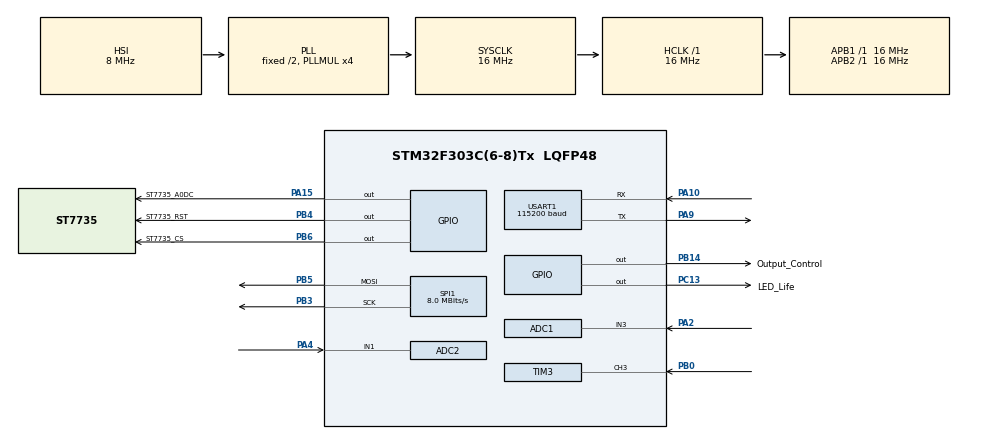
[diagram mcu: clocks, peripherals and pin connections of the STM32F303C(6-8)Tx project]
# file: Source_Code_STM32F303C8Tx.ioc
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ADC1.Channel-0\#ChannelRegularConversion=ADC_CHANNEL_3
ADC1.NbrOfConversionFlag=1
ADC1.Offset-0\#ChannelRegularConversion=0
ADC1.OffsetNumber-0\#ChannelRegularConversion=ADC_OFFSET_NONE
ADC1.Rank-0\#ChannelRegularConversion=1
ADC1.SamplingTime-0\#ChannelRegularConversion=ADC_SAMPLETIME_1CYCLE_5
ADC1.master=1
ADC2.Channel-1\#ChannelRegularConversion=ADC_CHANNEL_1
ADC2.NbrOfConversionFlag=1
ADC2.Offset-1\#ChannelRegularConversion=0
ADC2.OffsetNumber-1\#ChannelRegularConversion=ADC_OFFSET_NONE
ADC2.Rank-1\#ChannelRegularConversion=1
ADC2.SamplingTime-1\#ChannelRegularConversion=ADC_SAMPLETIME_1CYCLE_5
Mcu.Family=STM32F3
Mcu.Name=STM32F303C(6-8)Tx
Mcu.Package=LQFP48
NVIC.PriorityGroup=NVIC_PRIORITYGROUP_4
NVIC.USART1_IRQn=true\:1\:0\:true\:false\:true\:true\:true\:true
PA10.Mode=Asynchronous
PA10.Signal=USART1_RX
PA13.Mode=Serial_Wire
PA13.Signal=SYS_JTMS-SWDIO
PA14.Mode=Serial_Wire
PA14.Signal=SYS_JTCK-SWCLK
PA15.GPIO_Label=ST7735_A0\\DC
PA15.Signal=GPIO_Output
PA2.Mode=IN3-Single-Ended
PA2.Signal=ADC1_IN3
PA4.Mode=IN1-Single-Ended
PA4.Signal=ADC2_IN1
PA9.Mode=Asynchronous
PA9.Signal=USART1_TX
PB0.Signal=S_TIM3_CH3
PB14.GPIO_Label=Output_Control
PB14.Signal=GPIO_Output
PB3.Mode=TX_Only_Simplex_Unidirect_Master
PB3.Signal=SPI1_SCK
PB4.GPIO_Label=ST7735_RST
PB4.Signal=GPIO_Output
PB5.Mode=TX_Only_Simplex_Unidirect_Master
PB5.Signal=SPI1_MOSI
PB6.GPIO_Label=ST7735_CS
PB6.Signal=GPIO_Output
PC13.GPIO_Label=LED_Life
PC13.Signal=GPIO_Output
PC14\ /\ OSC32_IN.Mode=LSE-External-Oscillator
PC14\ /\ OSC32_IN.Signal=RCC_OSC32_IN
PC15\ /\ OSC32_OUT.Mode=LSE-External-Oscillator
PC15\ /\ OSC32_OUT.Signal=RCC_OSC32_OUT
PF0\ /\ OSC_IN.Mode=HSE-External-Oscillator
PF0\ /\ OSC_IN.Signal=RCC_OSC_IN
PF1\ /\ OSC_OUT.Mode=HSE-External-Oscillator
PF1\ /\ OSC_OUT.Signal=RCC_OSC_OUT
ProjectManager.HeapSize=0x200
ProjectManager.StackSize=0x400
ProjectManager.TargetToolchain=MDK-ARM V5.32
RCC.ADC12PRES=RCC_ADC12PLLCLK_DIV2
RCC.AHBFreq_Value=16000000
RCC.APB1Freq_Value=16000000
RCC.APB1TimFreq_Value=16000000
RCC.APB2Freq_Value=16000000
RCC.APB2TimFreq_Value=16000000
RCC.CortexFreq_Value=16000000
RCC.HCLKFreq_Value=16000000
RCC.HSE_VALUE=8000000
RCC.HSI_VALUE=8000000
RCC.PLLMUL=RCC_PLL_MUL4
RCC.SYSCLKFreq_VALUE=16000000
RCC.SYSCLKSourceVirtual=RCC_SYSCLKSOURCE_PLLCLK
SH.S_TIM3_CH3.0=TIM3_CH3,Input_Capture3_from_TI3
SPI1.CalculateBaudRate=8.0 MBits/s
SPI1.Direction=SPI_DIRECTION_2LINES
SPI1.Mode=SPI_MODE_MASTER
SPI1.VirtualType=VM_MASTER
TIM3.Channel-Input_Capture3_from_TI3=TIM_CHANNEL_3
USART1.BaudRate=115200
USART1.VirtualMode-Asynchronous=VM_ASYNC
board=custom

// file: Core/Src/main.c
/* USER CODE BEGIN Header */
/**
  ******************************************************************************
  * @file           : main.c
  * @brief          : Main program body
  ******************************************************************************
  * @attention
  *
  * Copyright (c) 2024 STMicroelectronics.
  * All rights reserved.
  *
  * This software is licensed under terms that can be found in the LICENSE file
  * in the root directory of this software component.
  * If no LICENSE file comes with this software, it is provided AS-IS.
  *
  ******************************************************************************
  */
/* USER CODE END Header */
#include "main.h"

/* USER CODE BEGIN Includes */
#include "stdio.h"
#include "st7735.h"
#include "fonts.h"
#include "scheduler.h"
/* USER CODE END Includes */

ADC_HandleTypeDef hadc1;
ADC_HandleTypeDef hadc2;

SPI_HandleTypeDef hspi1;

TIM_HandleTypeDef htim3;

UART_HandleTypeDef huart1;

void SystemClock_Config(void);
static void MX_GPIO_Init(void);
static void MX_ADC1_Init(void);
static void MX_ADC2_Init(void);
static void MX_SPI1_Init(void);
static void MX_TIM3_Init(void);
static void MX_USART1_UART_Init(void);

/* USER CODE BEGIN PFP */

//varible

volatile int Adc_vol=0;
volatile int Adc_amp=0;
volatile float Phase =0.8;
volatile float Vol_result=0;
volatile float Amp_result=0;
volatile float Watg_result=0;
volatile float Watg_per_Hour=0;
volatile int64_t Time_counter=0;
volatile uint32_t time_count = 0;
volatile float Energy=0;
//Fuction handler

static void Get_Data_And_Handle(void);
static void Send_Data_Esp32(void);
static void Display_St7735(void);

/* USER CODE END PFP */

/* USER CODE BEGIN 0 */

	/*Initialize ST7735*/

  /* Infinite loop */

/* USER CODE END 0 */

int main(void)
{

  /* MCU Configuration--------------------------------------------------------*/

  /* Reset of all peripherals, Initializes the Flash interface and the Systick. */
  HAL_Init();

  /* Configure the system clock */
  SystemClock_Config();

  /* Initialize all configured peripherals */
  MX_GPIO_Init();
  MX_ADC1_Init();
  MX_ADC2_Init();
  MX_SPI1_Init();
  MX_TIM3_Init();
  MX_USART1_UART_Init();
  /* USER CODE BEGIN 2 */

	ST7735_Init();
	ST7735_Backlight_On();
	ST7735_FillScreen(ST7735_BLACK);
	SCH_Init();

  /* USER CODE END 2 */
	SCH_Add_Task(Get_Data_And_Handle, 0, 10000);
  SCH_Add_Task(Send_Data_Esp32, 3000, 10000);
	SCH_Add_Task(Display_St7735, 6000, 10000);
  /* Infinite loop */
  while (1)
  {
		SCH_Dispatch_Tasks();
  }
}

void SystemClock_Config(void)
{
  RCC_OscInitTypeDef RCC_OscInitStruct = {0};
  RCC_ClkInitTypeDef RCC_ClkInitStruct = {0};
  RCC_PeriphCLKInitTypeDef PeriphClkInit = {0};

  /** Initializes the RCC Oscillators according to the specified parameters
  * in the RCC_OscInitTypeDef structure.
  */
  RCC_OscInitStruct.OscillatorType = RCC_OSCILLATORTYPE_HSI;
  RCC_OscInitStruct.HSIState = RCC_HSI_ON;
  RCC_OscInitStruct.HSICalibrationValue = RCC_HSICALIBRATION_DEFAULT;
  RCC_OscInitStruct.PLL.PLLState = RCC_PLL_ON;
  RCC_OscInitStruct.PLL.PLLSource = RCC_PLLSOURCE_HSI;
  RCC_OscInitStruct.PLL.PLLMUL = RCC_PLL_MUL4;
  if (HAL_RCC_OscConfig(&RCC_OscInitStruct) != HAL_OK)
  {
    Error_Handler();
  }

  /** Initializes the CPU, AHB and APB buses clocks
  */
  RCC_ClkInitStruct.ClockType = RCC_CLOCKTYPE_HCLK|RCC_CLOCKTYPE_SYSCLK
                              |RCC_CLOCKTYPE_PCLK1|RCC_CLOCKTYPE_PCLK2;
  RCC_ClkInitStruct.SYSCLKSource = RCC_SYSCLKSOURCE_PLLCLK;
  RCC_ClkInitStruct.AHBCLKDivider = RCC_SYSCLK_DIV1;
  RCC_ClkInitStruct.APB1CLKDivider = RCC_HCLK_DIV1;
  RCC_ClkInitStruct.APB2CLKDivider = RCC_HCLK_DIV1;

  if (HAL_RCC_ClockConfig(&RCC_ClkInitStruct, FLASH_LATENCY_0) != HAL_OK)
  {
    Error_Handler();
  }
  PeriphClkInit.PeriphClockSelection = RCC_PERIPHCLK_USART1|RCC_PERIPHCLK_ADC12;
  PeriphClkInit.Usart1ClockSelection = RCC_USART1CLKSOURCE_PCLK1;
  PeriphClkInit.Adc12ClockSelection = RCC_ADC12PLLCLK_DIV2;
  if (HAL_RCCEx_PeriphCLKConfig(&PeriphClkInit) != HAL_OK)
  {
    Error_Handler();
  }
}

static void MX_ADC1_Init(void)
{

  ADC_MultiModeTypeDef multimode = {0};
  ADC_ChannelConfTypeDef sConfig = {0};

  /** Common config
  */
  hadc1.Instance = ADC1;
  hadc1.Init.ClockPrescaler = ADC_CLOCK_ASYNC_DIV1;
  hadc1.Init.Resolution = ADC_RESOLUTION_12B;
  hadc1.Init.ScanConvMode = ADC_SCAN_DISABLE;
  hadc1.Init.ContinuousConvMode = DISABLE;
  hadc1.Init.DiscontinuousConvMode = DISABLE;
  hadc1.Init.ExternalTrigConvEdge = ADC_EXTERNALTRIGCONVEDGE_NONE;
  hadc1.Init.ExternalTrigConv = ADC_SOFTWARE_START;
  hadc1.Init.DataAlign = ADC_DATAALIGN_RIGHT;
  hadc1.Init.NbrOfConversion = 1;
  hadc1.Init.DMAContinuousRequests = DISABLE;
  hadc1.Init.EOCSelection = ADC_EOC_SINGLE_CONV;
  hadc1.Init.LowPowerAutoWait = DISABLE;
  hadc1.Init.Overrun = ADC_OVR_DATA_OVERWRITTEN;
  if (HAL_ADC_Init(&hadc1) != HAL_OK)
  {
    Error_Handler();
  }

  /** Configure the ADC multi-mode
  */
  multimode.Mode = ADC_MODE_INDEPENDENT;
  if (HAL_ADCEx_MultiModeConfigChannel(&hadc1, &multimode) != HAL_OK)
  {
    Error_Handler();
  }

  /** Configure Regular Channel
  */
  sConfig.Channel = ADC_CHANNEL_3;
  sConfig.Rank = ADC_REGULAR_RANK_1;
  sConfig.SingleDiff = ADC_SINGLE_ENDED;
  sConfig.SamplingTime = ADC_SAMPLETIME_1CYCLE_5;
  sConfig.OffsetNumber = ADC_OFFSET_NONE;
  sConfig.Offset = 0;
  if (HAL_ADC_ConfigChannel(&hadc1, &sConfig) != HAL_OK)
  {
    Error_Handler();
  }

}

static void MX_ADC2_Init(void)
{

  ADC_ChannelConfTypeDef sConfig = {0};

  /** Common config
  */
  hadc2.Instance = ADC2;
  hadc2.Init.ClockPrescaler = ADC_CLOCK_ASYNC_DIV1;
  hadc2.Init.Resolution = ADC_RESOLUTION_12B;
  hadc2.Init.ScanConvMode = ADC_SCAN_DISABLE;
  hadc2.Init.ContinuousConvMode = DISABLE;
  hadc2.Init.DiscontinuousConvMode = DISABLE;
  hadc2.Init.ExternalTrigConvEdge = ADC_EXTERNALTRIGCONVEDGE_NONE;
  hadc2.Init.ExternalTrigConv = ADC_SOFTWARE_START;
  hadc2.Init.DataAlign = ADC_DATAALIGN_RIGHT;
  hadc2.Init.NbrOfConversion = 1;
  hadc2.Init.DMAContinuousRequests = DISABLE;
  hadc2.Init.EOCSelection = ADC_EOC_SINGLE_CONV;
  hadc2.Init.LowPowerAutoWait = DISABLE;
  hadc2.Init.Overrun = ADC_OVR_DATA_OVERWRITTEN;
  if (HAL_ADC_Init(&hadc2) != HAL_OK)
  {
    Error_Handler();
  }

  /** Configure Regular Channel
  */
  sConfig.Channel = ADC_CHANNEL_1;
  sConfig.Rank = ADC_REGULAR_RANK_1;
  sConfig.SingleDiff = ADC_SINGLE_ENDED;
  sConfig.SamplingTime = ADC_SAMPLETIME_1CYCLE_5;
  sConfig.OffsetNumber = ADC_OFFSET_NONE;
  sConfig.Offset = 0;
  if (HAL_ADC_ConfigChannel(&hadc2, &sConfig) != HAL_OK)
  {
    Error_Handler();
  }

}

static void MX_SPI1_Init(void)
{

  /* SPI1 parameter configuration*/
  hspi1.Instance = SPI1;
  hspi1.Init.Mode = SPI_MODE_MASTER;
  hspi1.Init.Direction = SPI_DIRECTION_2LINES;
  hspi1.Init.DataSize = SPI_DATASIZE_4BIT;
  hspi1.Init.CLKPolarity = SPI_POLARITY_LOW;
  hspi1.Init.CLKPhase = SPI_PHASE_1EDGE;
  hspi1.Init.NSS = SPI_NSS_SOFT;
  hspi1.Init.BaudRatePrescaler = SPI_BAUDRATEPRESCALER_2;
  hspi1.Init.FirstBit = SPI_FIRSTBIT_MSB;
  hspi1.Init.TIMode = SPI_TIMODE_DISABLE;
  hspi1.Init.CRCCalculation = SPI_CRCCALCULATION_DISABLE;
  hspi1.Init.CRCPolynomial = 7;
  hspi1.Init.CRCLength = SPI_CRC_LENGTH_DATASIZE;
  hspi1.Init.NSSPMode = SPI_NSS_PULSE_ENABLE;
  if (HAL_SPI_Init(&hspi1) != HAL_OK)
  {
    Error_Handler();
  }

}

static void MX_TIM3_Init(void)
{

  TIM_MasterConfigTypeDef sMasterConfig = {0};
  TIM_IC_InitTypeDef sConfigIC = {0};

  htim3.Instance = TIM3;
  htim3.Init.Prescaler = 0;
  htim3.Init.CounterMode = TIM_COUNTERMODE_UP;
  htim3.Init.Period = 65535;
  htim3.Init.ClockDivision = TIM_CLOCKDIVISION_DIV1;
  htim3.Init.AutoReloadPreload = TIM_AUTORELOAD_PRELOAD_DISABLE;
  if (HAL_TIM_IC_Init(&htim3) != HAL_OK)
  {
    Error_Handler();
  }
  sMasterConfig.MasterOutputTrigger = TIM_TRGO_RESET;
  sMasterConfig.MasterSlaveMode = TIM_MASTERSLAVEMODE_DISABLE;
  if (HAL_TIMEx_MasterConfigSynchronization(&htim3, &sMasterConfig) != HAL_OK)
  {
    Error_Handler();
  }
  sConfigIC.ICPolarity = TIM_INPUTCHANNELPOLARITY_RISING;
  sConfigIC.ICSelection = TIM_ICSELECTION_DIRECTTI;
  sConfigIC.ICPrescaler = TIM_ICPSC_DIV1;
  sConfigIC.ICFilter = 0;
  if (HAL_TIM_IC_ConfigChannel(&htim3, &sConfigIC, TIM_CHANNEL_3) != HAL_OK)
  {
    Error_Handler();
  }

}

static void MX_USART1_UART_Init(void)
{

  huart1.Instance = USART1;
  huart1.Init.BaudRate = 115200;
  huart1.Init.WordLength = UART_WORDLENGTH_8B;
  huart1.Init.StopBits = UART_STOPBITS_1;
  huart1.Init.Parity = UART_PARITY_NONE;
  huart1.Init.Mode = UART_MODE_TX_RX;
  huart1.Init.HwFlowCtl = UART_HWCONTROL_NONE;
  huart1.Init.OverSampling = UART_OVERSAMPLING_16;
  huart1.Init.OneBitSampling = UART_ONE_BIT_SAMPLE_DISABLE;
  huart1.AdvancedInit.AdvFeatureInit = UART_ADVFEATURE_NO_INIT;
  if (HAL_UART_Init(&huart1) != HAL_OK)
  {
    Error_Handler();
  }

}

static void MX_GPIO_Init(void)
{
  GPIO_InitTypeDef GPIO_InitStruct = {0};

  /* GPIO Ports Clock Enable */
  __HAL_RCC_GPIOC_CLK_ENABLE();
  __HAL_RCC_GPIOF_CLK_ENABLE();
  __HAL_RCC_GPIOA_CLK_ENABLE();
  __HAL_RCC_GPIOB_CLK_ENABLE();

  /*Configure GPIO pin Output Level */
  HAL_GPIO_WritePin(LED_Life_GPIO_Port, LED_Life_Pin, GPIO_PIN_RESET);

  /*Configure GPIO pin Output Level */
  HAL_GPIO_WritePin(GPIOB, Output_Control_Pin|ST7735_RST_Pin|ST7735_CS_Pin, GPIO_PIN_RESET);

  /*Configure GPIO pin Output Level */
  HAL_GPIO_WritePin(ST7735_A0_DC_GPIO_Port, ST7735_A0_DC_Pin, GPIO_PIN_RESET);

  /*Configure GPIO pin : LED_Life_Pin */
  GPIO_InitStruct.Pin = LED_Life_Pin;
  GPIO_InitStruct.Mode = GPIO_MODE_OUTPUT_PP;
  GPIO_InitStruct.Pull = GPIO_NOPULL;
  GPIO_InitStruct.Speed = GPIO_SPEED_FREQ_LOW;
  HAL_GPIO_Init(LED_Life_GPIO_Port, &GPIO_InitStruct);

  /*Configure GPIO pins : Output_Control_Pin ST7735_RST_Pin ST7735_CS_Pin */
  GPIO_InitStruct.Pin = Output_Control_Pin|ST7735_RST_Pin|ST7735_CS_Pin;
  GPIO_InitStruct.Mode = GPIO_MODE_OUTPUT_PP;
  GPIO_InitStruct.Pull = GPIO_NOPULL;
  GPIO_InitStruct.Speed = GPIO_SPEED_FREQ_LOW;
  HAL_GPIO_Init(GPIOB, &GPIO_InitStruct);

  /*Configure GPIO pin : ST7735_A0_DC_Pin */
  GPIO_InitStruct.Pin = ST7735_A0_DC_Pin;
  GPIO_InitStruct.Mode = GPIO_MODE_OUTPUT_PP;
  GPIO_InitStruct.Pull = GPIO_NOPULL;
  GPIO_InitStruct.Speed = GPIO_SPEED_FREQ_LOW;
  HAL_GPIO_Init(ST7735_A0_DC_GPIO_Port, &GPIO_InitStruct);

}

/* USER CODE BEGIN 4 */

static void Get_Data_And_Handle(void)
{
		Time_counter= Time_counter+1;
		Adc_vol=0;
		Adc_amp=0;

		//Get Voltage value
    for(int i=0; i<10;i++)
		{
		HAL_ADC_Start(&hadc1);
		Adc_vol =Adc_vol+HAL_ADC_GetValue(&hadc1);
		HAL_ADC_Stop(&hadc1);
		}
		Adc_vol=Adc_vol/10;

		//Get Ampere value
		for(int i=0; i<10;i++){
		HAL_ADC_Start(&hadc2);
		Adc_amp =Adc_amp+HAL_ADC_GetValue(&hadc2);
		HAL_ADC_Stop(&hadc2);
		HAL_GPIO_TogglePin(GPIOC,GPIO_PIN_13);
		}
		Adc_amp=Adc_amp/10;

		//Get Phase value
		Phase = 0.8;

		//Data Hanlde
		Vol_result=(Adc_vol*3.3*129.9)/4095;
		Amp_result=(Adc_amp*3.3*1.37)/4095;
		Watg_result = Vol_result*Amp_result*Phase;

		Energy = Energy + Watg_result;

		Watg_per_Hour = Energy/(1000*3600);

}

static void Send_Data_Esp32(void)
{
    char mess[32];
    for(int i = 0; i < 2; i++) {
        switch (i) {
            case 0:
                //Send Vol_Value
                sprintf(mess, "%0.3f ; %0.3f ; %0.3f \r\n", Vol_result,Amp_result,Watg_result);
                break;
            default:
                break;
        }
        HAL_UART_Transmit(&huart1, (uint8_t *)mess, sizeof(mess), HAL_MAX_DELAY);

    }
}

static void Display_St7735(void)
{
	char mess[32];
	int second,minute,hour;

	hour = Time_counter/3600;
	minute = (Time_counter - 3600*hour)/60;
	second = Time_counter - 3600*hour - 60*minute;
	for(int i = 0; i < 8; i++)
	{

		switch(i) {
			case 0 :
			ST7735_DrawString(10, 0, "BTL EE3031 !", Font_7x10, ST7735_WHITE, ST7735_BLACK);
			ST7735_DrawString(10, 15, "Time !", Font_7x10, ST7735_WHITE, ST7735_BLACK);
			break;

			case 1:
			//Send Time
			sprintf(mess,"%d s %d m %d h", second, minute, hour);
			ST7735_DrawString(10, 30, mess, Font_7x10, ST7735_RED, ST7735_BLACK);
			break;

			case 2:
			//Send Vol_Value
			sprintf(mess,"Voltage = %0.2f ",Vol_result);
			ST7735_DrawString(10, 45, mess, Font_7x10, ST7735_RED, ST7735_BLACK);
			break;

			case 3:
			//Send Amp_Value
			sprintf(mess,"Ampere = %0.2f ",Amp_result);
			ST7735_DrawString(10, 60, mess, Font_7x10, ST7735_RED, ST7735_BLACK);
			break;

			case 4:
			//Send Amp_Value
			sprintf(mess,"Phase = %0.2f ",Phase);
			ST7735_DrawString(10, 75, mess, Font_7x10, ST7735_RED, ST7735_BLACK);
			break;

			case 5:
			//Send Watg_Value
			sprintf(mess,"Watage = %0.3f ",Watg_result);
			ST7735_DrawString(10, 90, mess, Font_7x10, ST7735_RED, ST7735_BLACK);
			break;

			case 6:
			//Send Watg_per_Hours
			sprintf(mess,"Energy = %0.6f ",Energy);
			ST7735_DrawString(10, 105, mess, Font_7x10, ST7735_RED, ST7735_BLACK);
			break;

			case 7:
			//Send Watg_per_Hours
			sprintf(mess,"KWh = %0.6f ",Watg_per_Hour);
			ST7735_DrawString(10, 135, mess, Font_7x10, ST7735_RED, ST7735_BLACK);
			break;

			default:
			break;
	}
		for(int i = 100000;i>0;i--){}
	}

}

/* USER CODE END 4 */

void SysTick_Handler(void)
{
  HAL_IncTick();
  /* USER CODE BEGIN SysTick_IRQn 1 */
	SCH_Update();
  /* USER CODE END SysTick_IRQn 1 */
}

void Error_Handler(void)
{
  __disable_irq();
  while (1)
  {
  }
}
